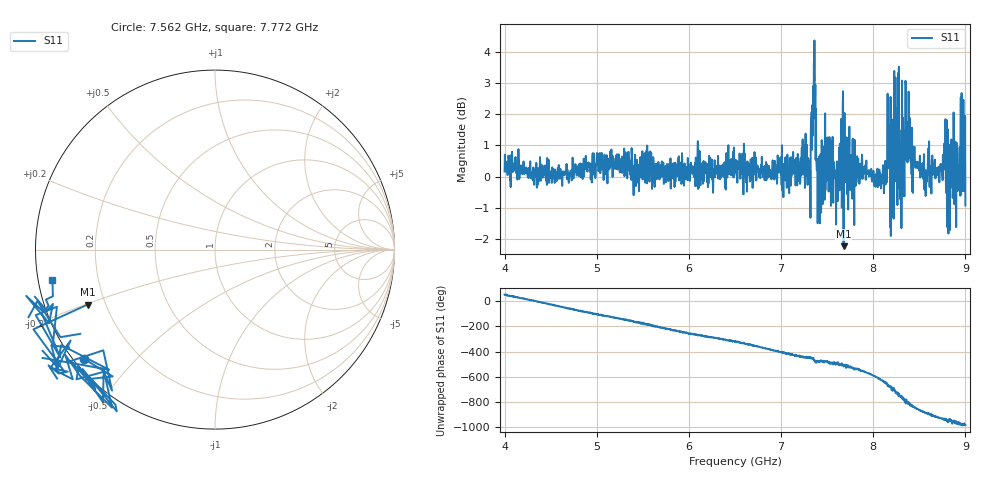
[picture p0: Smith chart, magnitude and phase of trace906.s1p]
! Created with skrf 1.8.0 (http://scikit-rf.org).
# Hz S RI R 50.0
!freq ReS11 ImS11
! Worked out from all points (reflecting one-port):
!   1601 points, 4 GHz to 9 GHz, reference 50 ohm
!   lowest |S11| = -2.2 dB at 7.678 GHz (marker M1), VSWR 7.83, Z = 6.65 - j10.1 ohm
!   phase of S11 starts at 52 deg and turns -1034 deg over the sweep
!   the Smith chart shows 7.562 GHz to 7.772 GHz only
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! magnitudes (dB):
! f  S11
! 4 GHz  0.2
! 4.625 GHz  -0.3
! 5.25 GHz  0.1
! 5.875 GHz  0.0
! 6.5 GHz  0.5
! 7.125 GHz  0.2
! 7.294 GHz  0.6
! 7.347 GHz  2.9
! 7.366 GHz  2.4
! 7.412 GHz  0.2
! 7.525 GHz  1.3
! 7.591 GHz  0.1
! 7.678 GHz  -2.2
! 7.75 GHz  -0.4
! 8.075 GHz  0.1
! 8.162 GHz  0.3
! 8.209 GHz  -0.5
! 8.253 GHz  1.1
! 8.312 GHz  3.1
! 8.338 GHz  -0.6
! 8.375 GHz  1.0
! 8.447 GHz  1.0
! 8.775 GHz  0.3
! 8.812 GHz  0.1
! 8.872 GHz  2.1
! 8.919 GHz  -0.4
! 8.972 GHz  0.8
! 9 GHz  -0.9
